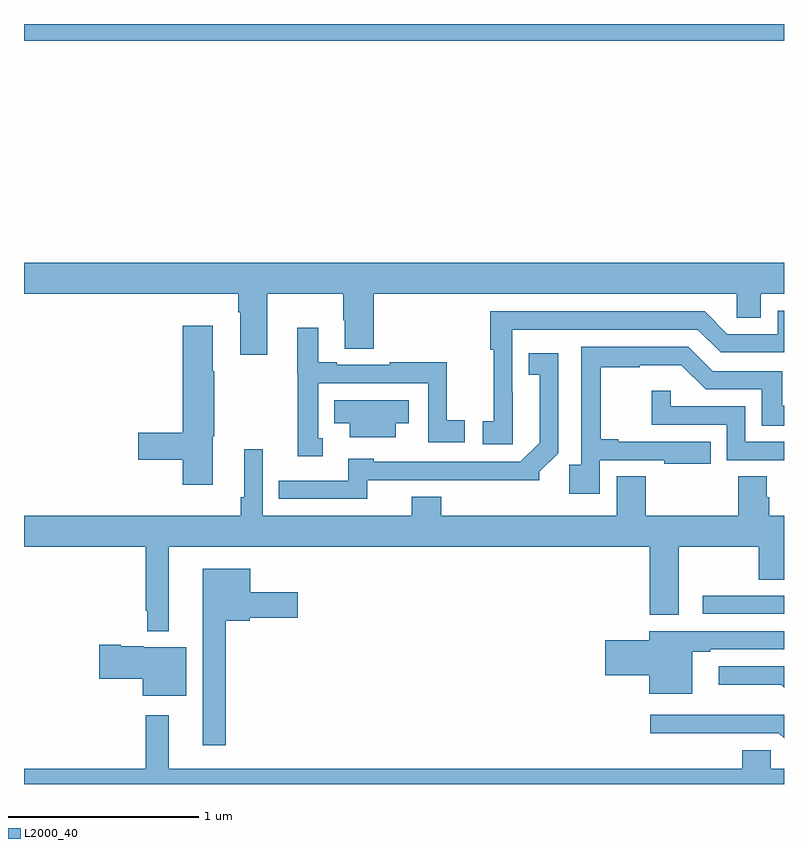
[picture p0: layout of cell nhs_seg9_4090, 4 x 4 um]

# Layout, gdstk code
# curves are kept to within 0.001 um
import gdstk
lib = gdstk.Library(unit=1e-6, precision=1e-09)
def R(c, l, rs):  # rectangles x0, y0, x1, y1
    for r in rs: c.add(gdstk.rectangle(r[:2], r[2:], *l))
def P(c, l, *ps):  # polygons
    for p in ps: c.add(gdstk.Polygon(p, *l))
L2000_40 = (2000, 40)

nhs_seg9_4090 = lib.new_cell('nhs_seg9_4090')
R(nhs_seg9_4090, L2000_40, [(348.573,1201.395,349,1201.491), (345,1204.412,349,1204.5)])
P(nhs_seg9_4090, L2000_40, [(346.279,1203.08),(346.681,1203.08),(346.681,1202.942),(346.688,1202.942),(346.688,1202.791),(346.841,1202.791),(346.841,1203.08),(348.75,1203.08),(348.75,1202.953),(348.877,1202.953),(348.877,1203.08),(349,1203.08),(349,1203.244),(345,1203.244),(345,1203.08),(346.127,1203.08),(346.127,1202.984),(346.139,1202.984),(346.139,1202.76),(346.279,1202.76)],
  [(347.572,1202.564),(347.571,1202.892),(348.546,1202.892),(348.666,1202.772),(349,1202.772),(349,1202.991),(348.966,1202.991),(348.966,1202.868),(348.702,1202.868),(348.582,1202.988),(347.455,1202.988),(347.455,1202.785),(347.473,1202.785),(347.473,1202.409),(347.415,1202.409),(347.415,1202.289),(347.572,1202.289)],
  [(345.994,1202.331),(346.002,1202.331),(346.002,1202.672),(345.994,1202.672),(345.994,1202.911),(345.836,1202.911),(345.836,1202.348),(345.6,1202.348),(345.6,1202.206),(345.836,1202.206),(345.836,1202.076),(345.994,1202.076)],
  [(346.573,1202.319),(346.548,1202.319),(346.548,1202.61),(347.127,1202.61),(347.127,1202.298),(347.32,1202.298),(347.32,1202.414),(347.226,1202.414),(347.226,1202.719),(346.924,1202.719),(346.924,1202.706),(346.645,1202.706),(346.645,1202.719),(346.549,1202.719),(346.549,1202.902),(346.439,1202.902),(346.439,1202.657),(346.44,1202.657),(346.44,1202.225),(346.573,1202.225)],
  [(348.03,1202.205),(348.371,1202.205),(348.371,1202.186),(348.614,1202.186),(348.614,1202.301),(348.127,1202.301),(348.127,1202.314),(348.035,1202.314),(348.035,1202.694),(348.242,1202.694),(348.242,1202.705),(348.46,1202.705),(348.588,1202.577),(348.884,1202.577),(348.884,1202.386),(349,1202.386),(349,1202.49),(348.991,1202.49),(348.991,1202.673),(348.624,1202.673),(348.495,1202.802),(347.934,1202.802),(347.934,1202.179),(347.869,1202.179),(347.869,1202.028),(348.03,1202.028)],
  [(346.806,1202.1),(347.712,1202.099),(347.712,1202.143),(347.811,1202.242),(347.811,1202.767),(347.656,1202.767),(347.656,1202.654),(347.714,1202.654),(347.714,1202.297),(347.613,1202.196),(346.842,1202.196),(346.842,1202.212),(346.706,1202.212),(346.706,1202.097),(346.342,1202.097),(346.342,1202.001),(346.806,1202.001)],
  [(349,1202.301),(348.795,1202.301),(348.795,1202.487),(348.405,1202.487),(348.405,1202.569),(348.304,1202.569),(348.304,1202.391),(348.699,1202.391),(348.699,1202.205),(349,1202.205)],
  [(346.957,1202.399),(347.026,1202.399),(347.026,1202.521),(346.633,1202.521),(346.633,1202.399),(346.715,1202.399),(346.715,1202.324),(346.957,1202.324)],
  [(345.763,1201.748),(348.293,1201.748),(348.293,1201.391),(348.445,1201.391),(348.445,1201.748),(348.868,1201.748),(348.868,1201.576),(349,1201.576),(349,1201.912),(348.923,1201.912),(348.923,1202.01),(348.91,1202.01),(348.91,1202.12),(348.758,1202.12),(348.758,1201.912),(348.272,1201.912),(348.272,1202.12),(348.119,1202.12),(348.119,1201.912),(347.195,1201.912),(347.195,1202.011),(347.042,1202.011),(347.042,1201.912),(346.257,1201.912),(346.257,1202.263),(346.16,1202.263),(346.16,1202.008),(346.141,1202.008),(346.141,1201.912),(345,1201.912),(345,1201.748),(345.642,1201.748),(345.642,1201.411),(345.649,1201.411),(345.649,1201.304),(345.763,1201.304)],
  [(346.063,1201.358),(346.188,1201.358),(346.188,1201.376),(346.441,1201.376),(346.441,1201.51),(346.192,1201.51),(346.192,1201.633),(345.941,1201.633),(345.941,1200.705),(346.063,1200.705)],
  [(348.517,1201.197),(348.613,1201.197),(348.613,1201.209),(349,1201.209),(349,1201.305),(348.29,1201.305),(348.29,1201.256),(348.06,1201.256),(348.06,1201.073),(348.29,1201.073),(348.29,1200.974),(348.517,1200.974)],
  [(345.853,1201.219),(345.63,1201.219),(345.63,1201.225),(345.508,1201.225),(345.508,1201.232),(345.396,1201.232),(345.396,1201.054),(345.626,1201.054),(345.626,1200.965),(345.853,1200.965)],
  [(349,1201.119),(348.657,1201.119),(348.657,1201.022),(348.985,1201.022),(349,1201.007)],
  [(349,1200.864),(348.908,1200.864),(348.908,1200.865),(348.669,1200.865),(348.669,1200.864),(348.297,1200.864),(348.297,1200.767),(348.695,1200.767),(348.695,1200.768),(348.972,1200.768),(349,1200.74)],
  [(349,1200.58),(348.93,1200.58),(348.93,1200.678),(348.779,1200.678),(348.779,1200.58),(345.763,1200.58),(345.763,1200.862),(345.642,1200.862),(345.642,1200.58),(345,1200.58),(345,1200.5),(349,1200.5)])

lib.write_gds('nhs_seg9_4090.gds')
